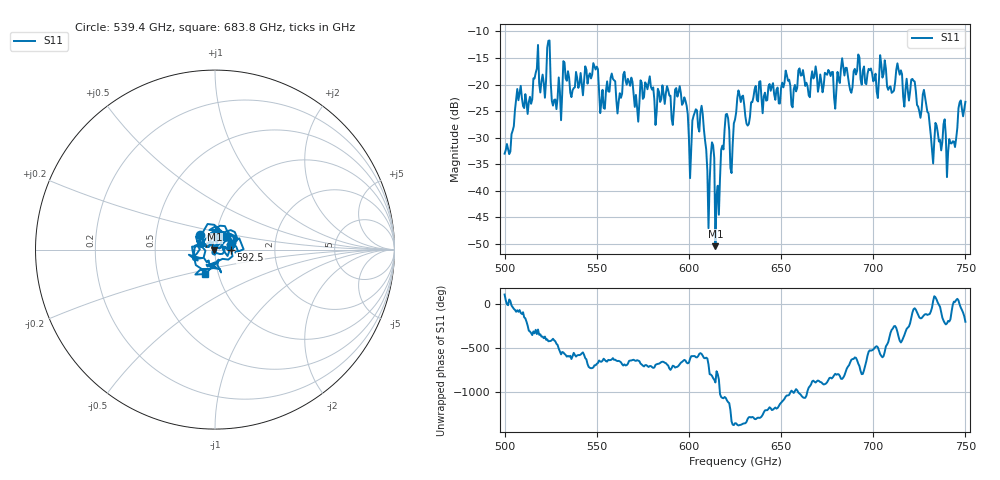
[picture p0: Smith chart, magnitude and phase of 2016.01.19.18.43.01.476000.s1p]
!Created with skrf (http://scikit-rf.org).
# GHz S RI R 50.0
!freq ReS11 ImS11
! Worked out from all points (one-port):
!   401 points, 500 GHz to 750 GHz, reference 50 ohm
!   lowest |S11| = -50.4 dB at 614.4 GHz (marker M1), VSWR 1.01, Z = 49.7 - j0.0597 ohm
!   |S11| at or under -10 dB: start of sweep to end of sweep
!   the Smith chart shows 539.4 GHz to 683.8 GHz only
!   S11 on the Smith chart (normalised r, x): 539.4 GHz: 0.84, +0.13; 592.5 GHz: 1.20, -0.00; 683.8 GHz: 0.86, -0.24
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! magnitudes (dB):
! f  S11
! 500 GHz  -33.0
! 516.9 GHz  -17.8
! 520.6 GHz  -18.1
! 523.8 GHz  -11.8
! 526.9 GHz  -22.9
! 531.2 GHz  -21.8
! 539.4 GHz  -18.8
! 549.4 GHz  -17.2
! 553.1 GHz  -21.0
! 558.8 GHz  -18.9
! 562.5 GHz  -21.6
! 592.5 GHz  -20.9
! 593.8 GHz  -22.3
! 600.6 GHz  -37.6
! 607.5 GHz  -25.6
! 610 GHz  -36.3
! 612.5 GHz  -30.9
! 614.4 GHz  -50.4
! 615.6 GHz  -39.1
! 620 GHz  -25.6
! 623.1 GHz  -36.7
! 625 GHz  -26.6
! 656.2 GHz  -24.3
! 683.8 GHz  -16.6
! 687.5 GHz  -21.1
! 718.8 GHz  -21.2
! 741.2 GHz  -30.3
! 750 GHz  -23.2
